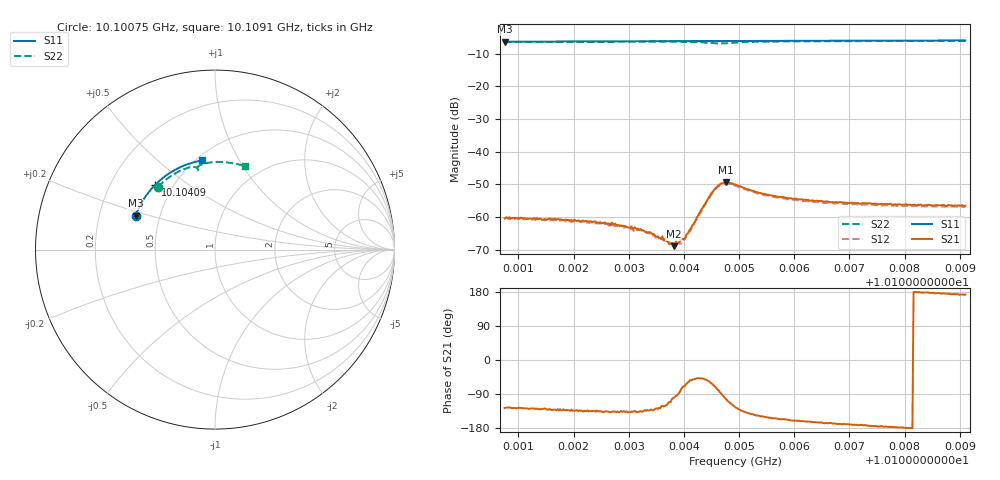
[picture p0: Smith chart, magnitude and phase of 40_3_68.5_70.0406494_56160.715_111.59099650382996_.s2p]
#  HZ  S  RI  R  50.00
! Rohde & Schwarz Vector Network Analyzer
! Rohde-Schwarz,ZNB20-2Port,1311601062101988,3.16
! Created: UTC 3/20/2024, 5:05:33 PM
! freq[Hz]  re:S11  im:S11  re:S21  im:S21  re:S12  im:S12  re:S22  im:S22
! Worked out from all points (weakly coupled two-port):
!   401 points, 10.10075 GHz to 10.1091 GHz, reference 50 ohm
!   highest |S21| = -49.40 dB at 10.10476 GHz (marker M1); lowest = -68.9 dB at 10.10382 GHz (marker M2)
!   lowest |S11| = -6.4 dB at 10.10075 GHz (marker M3), VSWR 2.85, Z = 18.2 + j8.93 ohm
!   |S11| at or under -10 dB: nowhere
!   |S22| runs from -6.9 to -6.1 dB; largest |S21 - S12| = 0.00034
!   S11 on the Smith chart (normalised r, x): 10.10075 GHz: 0.36, +0.18; 10.10409 GHz: 0.40, +0.38; 10.1091 GHz: 0.54, +0.71
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1.010075e10  -0.442 0.189  -0.000568 -0.000766  -0.000487 -0.000808  -0.3177 0.3509
1.0102148e10  -0.406 0.266  -0.000599 -0.000633  -0.000554 -0.000658  -0.2475 0.4085
1.0102733e10  -0.387 0.296  -0.000559 -0.000544  -0.000487 -0.000555  -0.2147 0.4283
1.0102858e10  -0.3826 0.3022  -0.00052 -0.000536  -0.000499 -0.000542  -0.2074 0.4323
1.0103088e10  -0.3743 0.3134  -0.000474 -0.000461  -0.000396 -0.000467  -0.1936 0.4391
1.0103234e10  -0.3688 0.3205  -0.000453 -0.000433  -0.000409 -0.00047  -0.1845 0.4431
1.0103422e10  -0.3618 0.3294  -0.000368 -0.000414  -0.000331 -0.000453  -0.1728 0.4482
1.0103547e10  -0.3569 0.3352  -0.000279 -0.000384  -0.000261 -0.000417  -0.1645 0.4513
1.0103777e10  -0.3476 0.3457  -9.7e-05 -0.00039  -7.9e-05 -0.00038  -0.1487 0.4561
1.0103819e10  -0.3457 0.3475  -5.43e-05 -0.000354  -5.86e-05 -0.000378  -0.1458 0.4571
1.0103902e10  -0.3425 0.3513  9.49e-06 -0.000408  5.77e-05 -0.000392  -0.1396 0.4584
1.0103965e10  -0.3398 0.354  0.000134 -0.000445  0.000116 -0.000403  -0.135 0.4593
1.0104027e10  -0.3373 0.3567  0.000201 -0.000443  0.000231 -0.000423  -0.1301 0.4601
1.010409e10  -0.3346 0.3595  0.000328 -0.000512  0.000374 -0.000464  -0.1251 0.4605
1.0104529e10  -0.3153 0.378  0.00103 -0.00225  0.00115 -0.00209  -0.0939 0.4469
1.0104654e10  -0.3097 0.3828  0.000244 -0.00317  0.000512 -0.003  -0.0967 0.4405
1.0104758e10  -0.305 0.387  -0.000725 -0.00331  -0.000417 -0.00318  -0.1019 0.4425
1.0104925e10  -0.2974 0.3933  -0.00177 -0.00262  -0.00145 -0.00265  -0.1017 0.4545
1.0105447e10  -0.2725 0.4129  -0.00194 -0.00114  -0.00178 -0.00125  -0.068 0.477
1.0106324e10  -0.2277 0.4416  -0.00173 -0.000493  -0.0016 -0.000637  -0.00827 0.4874
1.0107723e10  -0.1508 0.4765  -0.00158 -0.000107  -0.00149 -0.000232  0.0827 0.4846
1.0109101e10  -0.0701 0.4971  -0.00148 0.000191  -0.00144 4.93e-05  0.1684 0.4648
